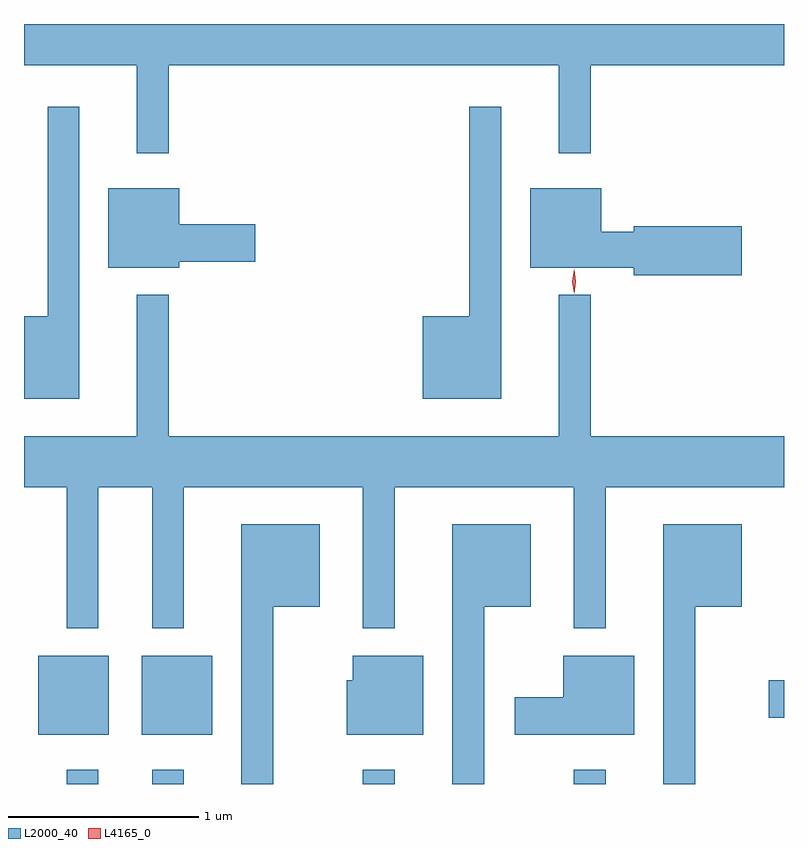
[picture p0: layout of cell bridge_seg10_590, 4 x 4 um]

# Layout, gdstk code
import gdstk
lib = gdstk.Library(unit=1e-6, precision=1e-09)
def R(c, l, rs):  # rectangles x0, y0, x1, y1
    for r in rs: c.add(gdstk.rectangle(r[:2], r[2:], *l))
def A(c, l, x, y, w, h, nx, ny, dx, dy):  # array of equal rectangles
    R(c, l, [(x+i*dx, y+j*dy, x+i*dx+w, y+j*dy+h) for i in range(nx) for j in range(ny)])
def P(c, l, *ps):  # polygons
    for p in ps: c.add(gdstk.Polygon(p, *l))
L2000_40 = (2000, 40)
L4165_0 = (4165, 0)

bridge_seg10_590 = lib.new_cell('bridge_seg10_590')
A(bridge_seg10_590, L2000_40, 743.711, 2107.913, 0.168, 0.075, 3, 1, 1.11, 0)
R(bridge_seg10_590, L2000_40, [(743.261,2107.913,743.429,2107.988), (743.111,2108.171,743.484,2108.589), (743.656,2108.171,744.029,2108.589), (746.956,2108.261,747.037,2108.459)])
P(bridge_seg10_590, L2000_40, [(743.799,2111.696),(745.851,2111.696),(745.851,2111.233),(746.019,2111.233),(746.019,2111.696),(747.037,2111.696),(747.037,2111.913),(743.037,2111.913),(743.037,2111.696),(743.631,2111.696),(743.631,2111.233),(743.799,2111.233)],
  [(745.549,2111.478),(745.381,2111.478),(745.381,2110.374),(745.136,2110.374),(745.136,2109.941),(745.549,2109.941)],
  [(743.329,2111.478),(743.161,2111.478),(743.161,2110.374),(743.037,2110.374),(743.037,2109.941),(743.329,2109.941)],
  [(743.854,2110.661),(744.254,2110.661),(744.254,2110.859),(743.854,2110.859),(743.854,2111.049),(743.481,2111.049),(743.481,2110.631),(743.854,2110.631)],
  [(746.814,2110.849),(746.246,2110.849),(746.246,2110.819),(746.074,2110.819),(746.074,2111.049),(745.701,2111.049),(745.701,2110.631),(746.246,2110.631),(746.246,2110.591),(746.814,2110.591)],
  [(743.429,2109.476),(743.711,2109.476),(743.711,2108.733),(743.879,2108.733),(743.879,2109.476),(744.821,2109.476),(744.821,2108.733),(744.989,2108.733),(744.989,2109.476),(745.931,2109.476),(745.931,2108.733),(746.099,2108.733),(746.099,2109.476),(747.037,2109.476),(747.037,2109.744),(746.019,2109.744),(746.019,2110.488),(745.851,2110.488),(745.851,2109.744),(743.799,2109.744),(743.799,2110.488),(743.631,2110.488),(743.631,2109.744),(743.037,2109.744),(743.037,2109.476),(743.261,2109.476),(743.261,2108.733),(743.429,2108.733)],
  [(745.459,2108.846),(745.704,2108.846),(745.704,2109.279),(745.291,2109.279),(745.291,2107.913),(745.459,2107.913)],
  [(744.349,2108.846),(744.594,2108.846),(744.594,2109.279),(744.181,2109.279),(744.181,2107.913),(744.349,2107.913)],
  [(746.569,2108.846),(746.814,2108.846),(746.814,2109.279),(746.401,2109.279),(746.401,2107.913),(746.569,2107.913)],
  [(746.249,2108.589),(745.876,2108.589),(745.876,2108.369),(745.621,2108.369),(745.621,2108.171),(746.249,2108.171)],
  [(745.139,2108.589),(744.766,2108.589),(744.766,2108.459),(744.736,2108.459),(744.736,2108.171),(745.139,2108.171)])
P(bridge_seg10_590, L4165_0, [(745.933,2110.493),(745.932,2110.494),(745.922,2110.557),(745.932,2110.621),(745.932,2110.622),(745.932,2110.621),(745.942,2110.557),(745.933,2110.494)])

lib.write_gds('bridge_seg10_590.gds')
